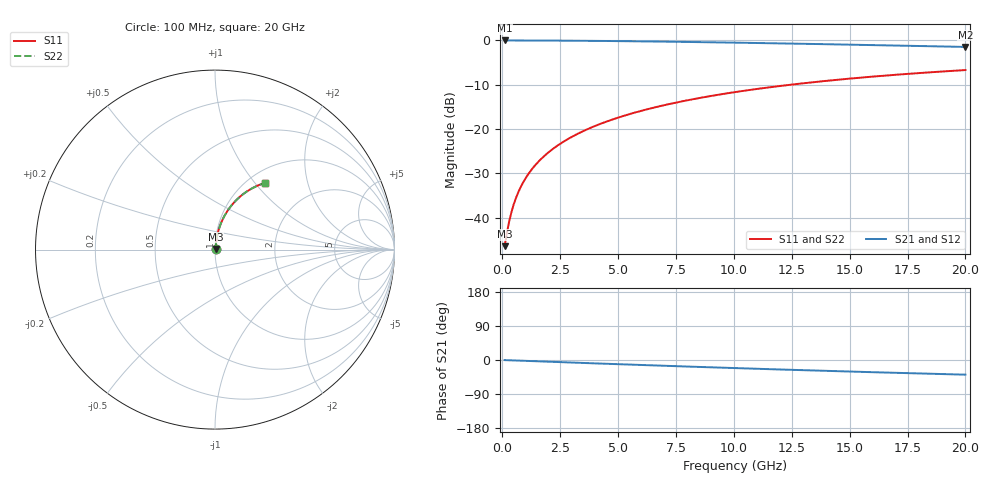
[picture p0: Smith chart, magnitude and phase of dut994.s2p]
! Touchstone file exported from HFSS 2024.1.0
!  File:  C:/UserFiles/LocalFiles/RDL_TSV_Batchsim/temp_RDL_bottom_994_1779944034.aedt
!  Generated:  12:56:28 PM May 28, 2026
!  Design:  RDL_bottom
!  Project:  temp_RDL_bottom_994_1779944034
!  Setup:  Setup1
!  Solution:  Sweep
! Variables:
!  dtsv = 10.80580581um
!  hbump = 3um
!  htsv = 88.69um
!  ldown = 476.06um
!  lrdl = 100um
!  p = 40
!  p1 = 50.32um
!  rhole = 1um
!  t = 450um
!  tdown = 4.23um
!  trdl = 3.915915916um
!  wdown = 10.41um
!  wrdl = 20um
# GHz S MA R 50.000000
! Terminal data exported
! Port[1] = RDL1_T1
! Port[2] = RDL1_T2
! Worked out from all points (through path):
!   200 points, 100 MHz to 20 GHz, reference 50 ohm
!   highest |S21| = -0.03 dB at 100 MHz (marker M1); lowest = -1.5 dB at 20 GHz (marker M2)
!   group delay of S21, straight-line fit = 5.38 ps
!   lowest |S11| = -46.4 dB at 100 MHz (marker M3), VSWR 1.01, Z = 50.4 + j0.281 ohm
!   |S11| at or under -10 dB: start of sweep to 12.48 GHz
!   |S22| runs from -46.4 to -6.7 dB; largest |S21 - S12| = 5.3e-15
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0.1  0.004771 35.7  0.9961 -0.2  0.9961 -0.2  0.004771 35.7
! Gamma 0 0 0 0
! Port Impedance 50 0 50 0
0.2  0.006775 54.4  0.9961 -0.5  0.9961 -0.5  0.006775 54.4
0.3  0.009151 64.0  0.996 -0.7  0.996 -0.7  0.009151 64.0
0.4  0.01168 69.5  0.9959 -0.9  0.9959 -0.9  0.01168 69.5
0.5  0.01429 72.9  0.9958 -1.1  0.9958 -1.1  0.01429 72.9
0.6  0.01693 75.2  0.9957 -1.4  0.9957 -1.4  0.01693 75.2
0.8  0.02228 78.1  0.9954 -1.8  0.9954 -1.8  0.02228 78.1
1.1  0.03037 80.1  0.9949 -2.5  0.9949 -2.5  0.03037 80.1
1.5  0.04117 81.3  0.9942 -3.4  0.9942 -3.4  0.04117 81.3
1.8  0.04927 81.6  0.9935 -4.1  0.9935 -4.1  0.04927 81.6
2.1  0.05734 81.6  0.9927 -4.7  0.9927 -4.7  0.05734 81.6
2.7  0.07344 81.3  0.9908 -6.1  0.9908 -6.1  0.07344 81.3
3.5  0.09477 80.4  0.9876 -7.8  0.9876 -7.8  0.09477 80.4
4.2  0.1133 79.5  0.9842 -9.3  0.9842 -9.3  0.1133 79.5
5  0.1343 78.3  0.9798 -11.1  0.9798 -11.1  0.1343 78.3
5.9  0.1576 76.8  0.9741 -13.0  0.9741 -13.0  0.1576 76.8
6.8  0.1807 75.3  0.9679 -14.9  0.9679 -14.9  0.1807 75.3
8.3  0.2183 72.7  0.9563 -17.9  0.9563 -17.9  0.2183 72.7
10.1  0.2618 69.6  0.9409 -21.5  0.9409 -21.5  0.2618 69.6
13.4  0.3363 63.9  0.9096 -27.6  0.9096 -27.6  0.3363 63.9
16.7  0.4032 58.5  0.8761 -33.4  0.8761 -33.4  0.4032 58.5
20  0.4619 53.3  0.8418 -38.7  0.8418 -38.7  0.4619 53.3
